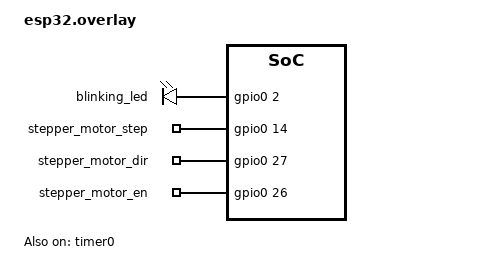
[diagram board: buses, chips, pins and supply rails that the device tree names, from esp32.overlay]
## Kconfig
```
# Copyright (c) 2023 Mikolaj Markiel
# MIT License

# User config for enabling timer autoreset after getting callback
# Be sure to use modified version of counter_esp32_tmr.c library
# More information in README.md file

# source "Kconfig.zephyr"

# config COUNTER_AUTORELOAD
#   bool
#   default y
```

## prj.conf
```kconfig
# Increased stack due to settings API usage
CONFIG_SYSTEM_WORKQUEUE_STACK_SIZE=2048
CONFIG_LOG=y
CONFIG_BT=y
CONFIG_BT_DEBUG_LOG=y
CONFIG_LOG_DEFAULT_LEVEL=4
CONFIG_BT_SMP=y
# CONFIG_BT_DEBUG_MONITOR=y
CONFIG_BT_DEBUG_SMP=y
# CONFIG_BT_DEBUG_CONN=y
# CONFIG_BT_DEBUG_HCI_CORE=y
# CONFIG_BT_DEBUG_HCI_DRIVER=y
# CONFIG_BT_DEBUG_ATT=y
# CONFIG_BT_DEBUG_GATT=y
# CONFIG_BT_DEBUG_L2CAP=y
CONFIG_BT_SIGNING=y
CONFIG_BT_PERIPHERAL=y
CONFIG_BT_DIS=y
CONFIG_BT_ATT_PREPARE_COUNT=5
CONFIG_BT_PRIVACY=y
CONFIG_BT_DEVICE_NAME="Slider"
CONFIG_BT_DEVICE_APPEARANCE=833
CONFIG_BT_DEVICE_NAME_DYNAMIC=y
CONFIG_BT_DEVICE_NAME_MAX=65

CONFIG_BT_KEYS_OVERWRITE_OLDEST=y
CONFIG_BT_SETTINGS=y
CONFIG_FLASH=y
CONFIG_FLASH_PAGE_LAYOUT=y
CONFIG_FLASH_MAP=y
CONFIG_NVS=y
# CONFIG_SETTINGS=y
```

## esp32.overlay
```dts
/ {
    aliases {
        // steppermotor = &stepper_motor;
		// steppermotor = &blinking_led;
    };
	leds {
		compatible = "gpio-leds";
		blinking_led: blinking_led {
			gpios = <&gpio0 2 GPIO_ACTIVE_HIGH>;
		};
		stepper_motor_step: stepper_motor_step {
			gpios = <&gpio0 14 GPIO_ACTIVE_HIGH>;
		};
		stepper_motor_dir: stepper_motor_dir {
			gpios = <&gpio0 27 GPIO_ACTIVE_HIGH>;
		};
		stepper_motor_en: stepper_motor_en {
			gpios = <&gpio0 26 GPIO_ACTIVE_HIGH>;
		};
	};
};
&timer0 {
			compatible = "espressif,esp32-timer";
          status = "okay";
          prescaler = <10>;
};
```

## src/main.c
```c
/*
Copyright (c) 2023 Mikolaj Markiel

Permission is hereby granted, free of charge, to any person obtaining a copy
of this software and associated documentation files (the "Software"), to deal
in the Software without restriction, including without limitation the rights
to use, copy, modify, merge, publish, distribute, sublicense, and/or sell
copies of the Software, and to permit persons to whom the Software is
furnished to do so, subject to the following conditions:

The above copyright notice and this permission notice shall be included in all
copies or substantial portions of the Software.

THE SOFTWARE IS PROVIDED "AS IS", WITHOUT WARRANTY OF ANY KIND, EXPRESS OR
IMPLIED, INCLUDING BUT NOT LIMITED TO THE WARRANTIES OF MERCHANTABILITY,
FITNESS FOR A PARTICULAR PURPOSE AND NONINFRINGEMENT. IN NO EVENT SHALL THE
AUTHORS OR COPYRIGHT HOLDERS BE LIABLE FOR ANY CLAIM, DAMAGES OR OTHER
LIABILITY, WHETHER IN AN ACTION OF CONTRACT, TORT OR OTHERWISE, ARISING FROM,
OUT OF OR IN CONNECTION WITH THE SOFTWARE OR THE USE OR OTHER DEALINGS IN THE
SOFTWARE.
*/

#include "stepper.h"
#include <zephyr/bluetooth/bluetooth.h>
#include <zephyr/bluetooth/conn.h>
#include <zephyr/bluetooth/gatt.h>
#include <zephyr/bluetooth/hci.h>
#include <zephyr/bluetooth/uuid.h>
#include <zephyr/device.h>
#include <zephyr/drivers/gpio.h>
#include <zephyr/kernel.h>
#include <zephyr/logging/log.h>

#include <stdint.h>
#include <stdio.h>
#include <stdlib.h>
#include <string.h>

LOG_MODULE_REGISTER(app);
static const struct gpio_dt_spec led =
    GPIO_DT_SPEC_GET(DT_NODELABEL(blinking_led), gpios);

#define SLIDER_UUID(num)                                                       \
  BT_UUID_128_ENCODE(0x12340000 | num, 0x1234, 0x5678, 0x1234,                 \
                     0x56789abcdef0) // TODO change to something more random

#define BT_UUID_SLIDER_SERVICE SLIDER_UUID(0x0000)

static struct bt_uuid_128 slider_service_uuid =
    BT_UUID_INIT_128(SLIDER_UUID(0x0000));
static struct bt_uuid_128 slider_status_uuid =
    BT_UUID_INIT_128(SLIDER_UUID(0x0001));
static struct bt_uuid_128 slider_cmd_uuid =
    BT_UUID_INIT_128(SLIDER_UUID(0x0002));
static struct bt_uuid_128 slider_start_pos_uuid =
    BT_UUID_INIT_128(SLIDER_UUID(0x0010));
static struct bt_uuid_128 slider_end_pos_uuid =
    BT_UUID_INIT_128(SLIDER_UUID(0x0011));
static struct bt_uuid_128 slider_duration_uuid =
    BT_UUID_INIT_128(SLIDER_UUID(0x0012));
static struct bt_uuid_128 slider_speed_uuid =
    BT_UUID_INIT_128(SLIDER_UUID(0x0013));

static const struct bt_data ad[] = {
    BT_DATA_BYTES(BT_DATA_FLAGS, (BT_LE_AD_GENERAL | BT_LE_AD_NO_BREDR)),
    BT_DATA_BYTES(BT_DATA_UUID128_ALL, BT_UUID_SLIDER_SERVICE),
    BT_DATA_BYTES(BT_DATA_NAME_COMPLETE, CONFIG_BT_DEVICE_NAME),
};

static const struct bt_data sd[] = {
    BT_DATA_BYTES(BT_DATA_FLAGS, (BT_LE_AD_GENERAL | BT_LE_AD_NO_BREDR)),
    BT_DATA_BYTES(BT_DATA_UUID128_ALL, BT_UUID_SLIDER_SERVICE),
    BT_DATA_BYTES(BT_DATA_NAME_COMPLETE, CONFIG_BT_DEVICE_NAME),
};

#define DEFAULT_WR_PROPS                                                       \
  BT_GATT_CHRC_READ | BT_GATT_CHRC_WRITE | BT_GATT_CHRC_NOTIFY |               \
      BT_GATT_CHRC_AUTH
#define DEFAULT_WR_PERMS BT_GATT_PERM_READ | BT_GATT_PERM_WRITE

#define DEFAULT_RO_PROPS                                                       \
  BT_GATT_CHRC_READ | BT_GATT_CHRC_NOTIFY | BT_GATT_CHRC_AUTH
#define DEFAULT_RO_PERMS BT_GATT_PERM_READ

#define DEFAULT_WO_PROPS BT_GATT_CHRC_WRITE | BT_GATT_CHRC_AUTH
#define DEFAULT_WO_PERMS BT_GATT_PERM_WRITE

static ssize_t write_int_param(struct bt_conn *conn,
                               const struct bt_gatt_attr *attr, const void *buf,
                               uint16_t len, uint16_t offset, uint8_t flags) {
  uint32_t *param = attr->user_data;
  static uint32_t temp;
  char value_1[10]; // TODO - change magical 10 to max BCD signs of uint32_t
                    // (4294967296);
  char value_2[10];
  memcpy(value_1, buf, len);
  value_1[len] = 0;
  temp = atoi(value_1);
  sprintf(value_2, "%d", temp);
  if (strcmp(value_1, value_2)) {
    LOG_ERR("wrong int value, val_1: %s, val_2: %s", value_1, value_2);
    return BT_GATT_ERR(BT_ATT_ERR_VALUE_NOT_ALLOWED);
  }
  memcpy(param, &temp, sizeof(*param));
  LOG_INF("write value, int: %d", *param);
  return len;
}

static ssize_t read_int_param(struct bt_conn *conn,
                              const struct bt_gatt_attr *attr, void *buf,
                              uint16_t len, uint16_t offset) {
  uint32_t *param = attr->user_data;
  char value[sizeof(uint32_t)];
  sprintf(value, "%d", *param);
  LOG_INF("read value, int: %d, str: %s", *param, value);
  return bt_gatt_attr_read(conn, attr, buf, len, offset, value, strlen(value));
}

static ssize_t cmd_handler(struct bt_conn *conn,
                           const struct bt_gatt_attr *attr, const void *buf,
                           uint16_t len, uint16_t offset, uint8_t flags) {
  uint32_t cmd;
  if (len > sizeof(cmd)) {
    LOG_ERR("wrong cmd input!");
    memcpy(slider_status.status, SLIDER_STATUS_ERROR, 4);
    return len;
  }
  memcpy(&cmd, buf, len);

  LOG_INF("cmd handler cmd %d, len: %d", cmd, len);
  switch (cmd) {
  case '1': {
    memcpy(slider_status.status, SLIDER_STATUS_RUNNING, 4);
    break;
  }
  case '2': {
    memcpy(slider_status.status, SLIDER_STATUS_HALTED, 4);
    break;
  }
  default: {
    break;
  }
  }
  return len;
}

static void ct_ccc_changed(const struct bt_gatt_attr *attr, uint16_t value) {
  /* TODO: Handle value */
}

BT_GATT_SERVICE_DEFINE(
    slider_service, BT_GATT_PRIMARY_SERVICE(&slider_service_uuid.uuid),
    BT_GATT_CHARACTERISTIC(&slider_status_uuid.uuid, DEFAULT_RO_PROPS,
                           DEFAULT_RO_PERMS, read_int_param, write_int_param,
                           &slider_status.status),
    BT_GATT_CCC(ct_ccc_changed, BT_GATT_PERM_READ | BT_GATT_PERM_WRITE),
    BT_GATT_CHARACTERISTIC(&slider_start_pos_uuid.uuid, DEFAULT_WR_PROPS,
                           DEFAULT_WR_PERMS, read_int_param, write_int_param,
                           &slider_status.start_pos),
    BT_GATT_CCC(ct_ccc_changed, BT_GATT_PERM_READ | BT_GATT_PERM_WRITE),
    BT_GATT_CHARACTERISTIC(&slider_end_pos_uuid.uuid, DEFAULT_WR_PROPS,
                           DEFAULT_WR_PERMS, read_int_param, write_int_param,
                           &slider_status.end_pos),
    BT_GATT_CCC(ct_ccc_changed, BT_GATT_PERM_READ | BT_GATT_PERM_WRITE),
    BT_GATT_CHARACTERISTIC(&slider_duration_uuid.uuid, DEFAULT_WR_PROPS,
                           DEFAULT_WR_PERMS, read_int_param, write_int_param,
                           &slider_status.duration),
    BT_GATT_CCC(ct_ccc_changed, BT_GATT_PERM_READ | BT_GATT_PERM_WRITE),
    BT_GATT_CHARACTERISTIC(&slider_speed_uuid.uuid, DEFAULT_WR_PROPS,
                           DEFAULT_WR_PERMS, read_int_param, write_int_param,
                           &slider_status.speed),
    BT_GATT_CCC(ct_ccc_changed, BT_GATT_PERM_READ | BT_GATT_PERM_WRITE),

    BT_GATT_CHARACTERISTIC(&slider_cmd_uuid.uuid, DEFAULT_WO_PROPS,
                           DEFAULT_WO_PERMS, NULL, cmd_handler, NULL), );

#define NOTIFY_SLIDER_STATUS 2
#define NOTIFY_SLIDER_START_POS NOTIFY_SLIDER_STATUS + 3
#define NOTIFY_SLIDER_END_POS NOTIFY_SLIDER_START_POS + 3
#define NOTIFY_SLIDER_DURATION NOTIFY_SLIDER_END_POS + 3
#define NOTIFY_SLIDER_SPEED NOTIFY_SLIDER_DURATION + 3

uint8_t bt_conn_cnt = 0;
void bt_notify_differences(const struct bt_gatt_attr *chrc,
                           const void *current_msg, void *old_msg, size_t n) {
  static int err;
  static uint8_t old_bt_conn_cnt = 0;
  if (!bt_conn_cnt) {
    return;
  }
  if (!memcmp(old_msg, current_msg, n)) {
    return;
  }
  memcpy(old_msg, current_msg, n);
  err = bt_gatt_notify(NULL, chrc, old_msg, sizeof(old_msg));
  err =
      err == -ENOTCONN ? 0 : err; // TODO exchange if server has opportunity to
                                  // know that client notification is enabled
  if (err) {
    LOG_ERR("gatt notify failed, reason: %d", err);
    return;
  }
  LOG_INF("gatt notify successful");
}

void bt_notify_handler() { // TODO: write to a thread
  while (1) {
    static slider_params old_slider_status;
    bt_notify_differences(&slider_service.attrs[NOTIFY_SLIDER_STATUS],
                          &slider_status.status, &old_slider_status.status,
                          sizeof(slider_status.status));
    bt_notify_differences(&slider_service.attrs[NOTIFY_SLIDER_START_POS],
                          &slider_status.start_pos,
                          &old_slider_status.start_pos,
                          sizeof(slider_status.start_pos));
    bt_notify_differences(&slider_service.attrs[NOTIFY_SLIDER_END_POS],
                          &slider_status.end_pos, &old_slider_status.end_pos,
                          sizeof(slider_status.end_pos));
    bt_notify_differences(&slider_service.attrs[NOTIFY_SLIDER_DURATION],
                          &slider_status.duration, &old_slider_status.duration,
                          sizeof(slider_status.duration));
    bt_notify_differences(&slider_service.attrs[NOTIFY_SLIDER_SPEED],
                          &slider_status.speed, &old_slider_status.speed,
                          sizeof(slider_status.speed));
    k_msleep(100);
  }
}

K_THREAD_DEFINE(bt_notifications, 1024, bt_notify_handler, NULL, NULL, NULL, 7,
                0, 0);

static void connected(struct bt_conn *conn, uint8_t err) {
  if (err) {
    printk("Connection failed (err %u)\n", err);
    return;
  }
  bt_conn_cnt++;
  LOG_INF("Connected, current connections: %d", bt_conn_cnt);
}

static void disconnected(struct bt_conn *conn, uint8_t reason) {
  if (bt_conn_cnt > 0) {
    bt_conn_cnt--;
  }
  LOG_INF("Disconnected (reason %u), current connections: %d", reason,
          bt_conn_cnt);
}

BT_CONN_CB_DEFINE(conn_callbacks) = {
    .connected = connected,
    .disconnected = disconnected,
};

static void auth_passkey_display(struct bt_conn *conn, unsigned int passkey) {
  char addr[BT_ADDR_LE_STR_LEN];

  bt_addr_le_to_str(bt_conn_get_dst(conn), addr, sizeof(addr));

  printk("Passkey for %s: %06u\n", addr, passkey);
}

static void auth_cancel(struct bt_conn *conn) {
  char addr[BT_ADDR_LE_STR_LEN];

  bt_addr_le_to_str(bt_conn_get_dst(conn), addr, sizeof(addr));

  printk("Pairing cancelled: %s\n", addr);
}

static struct bt_conn_auth_cb auth_cb_display = {
    .passkey_display = auth_passkey_display,
    .passkey_entry = NULL,
    .cancel = auth_cancel,
};

K_THREAD_DEFINE(slider_process_id, 1024, slider_process_thread, NULL, NULL,
                NULL, 3, 0, 0);

int led_test_init() {
  int err;
  if (!gpio_is_ready_dt(&led)) {
    LOG_ERR("led gpio isn't ready");
    return 1;
  }
  err = gpio_pin_configure_dt(&led, GPIO_OUTPUT_ACTIVE);
  if (err < 0) {
    LOG_ERR("gpio_pin_configure_dt failed");
    return 2;
  }
  return 0;
}

void main(void) {
  int err;
  err = stepper_motor_gpio_init();
  if (err) {
    return;
  }
  err = led_test_init();
  if (err) {
    return;
  }

  err = bt_enable(NULL);
  if (err) {
    LOG_ERR("Bluetooth init failed (err %d)", err);
    return;
  }

  err = bt_conn_auth_cb_register(&auth_cb_display);
  if (err) {
    LOG_ERR("bt_conn_auth_cb_register failed: (err %d)", err);
    return;
  }

  err = bt_le_adv_start(BT_LE_ADV_CONN, ad, ARRAY_SIZE(ad), sd, ARRAY_SIZE(sd));
  if (err) {
    LOG_ERR("Advertising failed to start (err %d)", err);
    return;
  }

  LOG_INF("Advertising started succesfully");

  while (1) {
    gpio_pin_toggle_dt(&led);
    k_msleep(1000);
    if (!memcmp(slider_status.status, SLIDER_STATUS_HALTED, 4)) {
      memcpy(slider_status.status, SLIDER_STATUS_IDLE, 4);
    }
  }
}
```

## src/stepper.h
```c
/*
Copyright (c) 2023 Mikolaj Markiel

Permission is hereby granted, free of charge, to any person obtaining a copy
of this software and associated documentation files (the "Software"), to deal
in the Software without restriction, including without limitation the rights
to use, copy, modify, merge, publish, distribute, sublicense, and/or sell
copies of the Software, and to permit persons to whom the Software is
furnished to do so, subject to the following conditions:

The above copyright notice and this permission notice shall be included in all
copies or substantial portions of the Software.

THE SOFTWARE IS PROVIDED "AS IS", WITHOUT WARRANTY OF ANY KIND, EXPRESS OR
IMPLIED, INCLUDING BUT NOT LIMITED TO THE WARRANTIES OF MERCHANTABILITY,
FITNESS FOR A PARTICULAR PURPOSE AND NONINFRINGEMENT. IN NO EVENT SHALL THE
AUTHORS OR COPYRIGHT HOLDERS BE LIABLE FOR ANY CLAIM, DAMAGES OR OTHER
LIABILITY, WHETHER IN AN ACTION OF CONTRACT, TORT OR OTHERWISE, ARISING FROM,
OUT OF OR IN CONNECTION WITH THE SOFTWARE OR THE USE OR OTHER DEALINGS IN THE
SOFTWARE.
*/

#ifndef __STEPPER_HEADER__
#define __STEPPER_HEADER__

#include <stdio.h>
#include <zephyr/drivers/gpio.h>
#include <zephyr/kernel.h>
#include <zephyr/logging/log.h>

#define SLIDER_STATUS_IDLE "Idle"
#define SLIDER_STATUS_RUNNING "Runn"
#define SLIDER_STATUS_HALTED "Halt"
#define SLIDER_STATUS_ERROR "Err"

#define STEPS_FACTOR 100   // <x> steps for 1 mm move
#define MAX_MOTOR_SPEED 30 // min duration of signal for motor driver is 9,6us
// TODO: count precise MAX_MOTOR_SPEED

typedef struct {
  char status[10];
  uint32_t dir;
  uint32_t start_pos;
  uint32_t end_pos;
  uint32_t duration;
  uint32_t speed;
} slider_params;

typedef enum {
  FORWARD = 0,
  REVERSE = 1,
} T_DIR;

slider_params slider_status = {
    .status = SLIDER_STATUS_IDLE,
    .dir = 1,
    .start_pos = 10,
    .end_pos = 20,
    .duration = 10,
    .speed = 100,
};

extern slider_params slider_status;

static const struct gpio_dt_spec stepper_motor_step =
    GPIO_DT_SPEC_GET(DT_NODELABEL(stepper_motor_step), gpios);
static const struct gpio_dt_spec stepper_motor_dir =
    GPIO_DT_SPEC_GET(DT_NODELABEL(stepper_motor_dir), gpios);
static const struct gpio_dt_spec stepper_motor_en =
    GPIO_DT_SPEC_GET(DT_NODELABEL(stepper_motor_en), gpios);

static int stepper_gpio_configure(const struct gpio_dt_spec *pin, char *name) {
  LOG_MODULE_DECLARE(app);
  int err;
  if (!gpio_is_ready_dt(pin)) {
    LOG_ERR("%s gpio isn't ready", name);
    return 1;
  }
  err = gpio_pin_configure_dt(pin, GPIO_OUTPUT_ACTIVE);
  if (err < 0) {
    LOG_ERR("%s gpio configure failed", name);
    return err;
  }
  return 0;
}

int stepper_motor_gpio_init() {
  int err;
  LOG_MODULE_DECLARE(app);
  err = stepper_gpio_configure(&stepper_motor_step, "stepper_motor_step");
  if (err) {
    return err;
  }
  err = stepper_gpio_configure(&stepper_motor_dir, "stepper_motor_dir");
  if (err) {
    return err;
  }
  err = stepper_gpio_configure(&stepper_motor_en, "stepper_motor_en");
  if (err) {
    return err;
  }
  return 0;
}

// Function to move the stepper motor
void slider_process(slider_params *slider) {
  if (!memcmp(slider->status, SLIDER_STATUS_IDLE, 4)) {
    return;
  }
  // TODO: check if start pos and end pos are equal
  //
  if (slider->start_pos == slider->end_pos) {
    return;
  }
  uint8_t dir = slider->start_pos < slider->end_pos ? FORWARD : REVERSE;
  uint32_t steps;
  uint32_t delay = 1000 / slider->speed;
  if (dir == FORWARD) {
    steps = (slider->end_pos - slider->start_pos) * STEPS_FACTOR;
  } else {
    steps = (slider->start_pos - slider->end_pos) * STEPS_FACTOR;
  }

  gpio_pin_set_dt(&stepper_motor_dir, dir); // TODO
  while (steps) {
    for (int i = 0; i < 2; i++) {
      gpio_pin_toggle_dt(&stepper_motor_step);
      k_usleep(100 * delay);
    }
    steps--;
  }
  memcpy(slider->status, SLIDER_STATUS_IDLE, 4);
}

void slider_process_thread() {
  while (1) {
    slider_process(&slider_status);
    k_msleep(200);
  }
}

#endif
```

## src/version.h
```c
#ifndef __VERSION_HEADER__
#define __VERSION_HEADER__

#define soft_ver "0.1"

#endif
```
